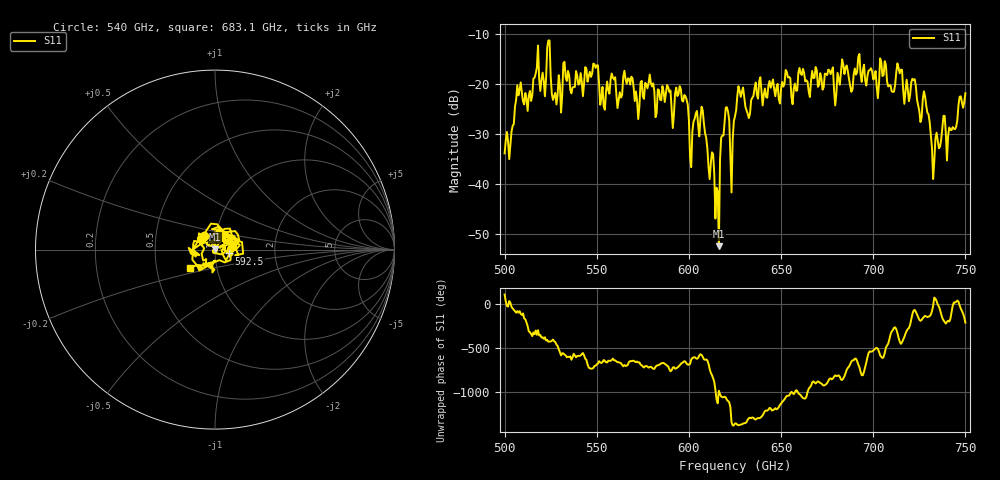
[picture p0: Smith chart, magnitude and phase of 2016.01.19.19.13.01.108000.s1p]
!Created with skrf (http://scikit-rf.org).
# GHz S RI R 50.0
!freq ReS11 ImS11
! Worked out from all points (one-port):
!   401 points, 500 GHz to 750 GHz, reference 50 ohm
!   lowest |S11| = -52.5 dB at 616.2 GHz (marker M1), VSWR 1.00, Z = 50 + j0.238 ohm
!   |S11| at or under -10 dB: start of sweep to end of sweep
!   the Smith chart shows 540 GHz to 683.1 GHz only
!   S11 on the Smith chart (normalised r, x): 540 GHz: 0.87, +0.13; 592.5 GHz: 1.17, -0.05; 683.1 GHz: 0.74, -0.16
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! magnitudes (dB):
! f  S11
! 500 GHz  -33.9
! 507.5 GHz  -22.3
! 513.8 GHz  -21.5
! 516.9 GHz  -18.0
! 531.2 GHz  -22.4
! 540 GHz  -20.2
! 549.4 GHz  -16.8
! 562.5 GHz  -21.7
! 565.6 GHz  -19.1
! 592.5 GHz  -21.9
! 593.8 GHz  -22.5
! 601.2 GHz  -36.7
! 607.5 GHz  -25.4
! 615 GHz  -40.8
! 616.2 GHz  -52.5
! 619.4 GHz  -27.5
! 623.1 GHz  -41.7
! 625 GHz  -26.5
! 628.1 GHz  -22.6
! 631.9 GHz  -26.0
! 656.2 GHz  -24.1
! 683.1 GHz  -15.1
! 687.5 GHz  -20.5
! 714.4 GHz  -17.9
! 718.8 GHz  -21.2
! 728.1 GHz  -22.5
! 732.5 GHz  -39.1
! 750 GHz  -21.9
